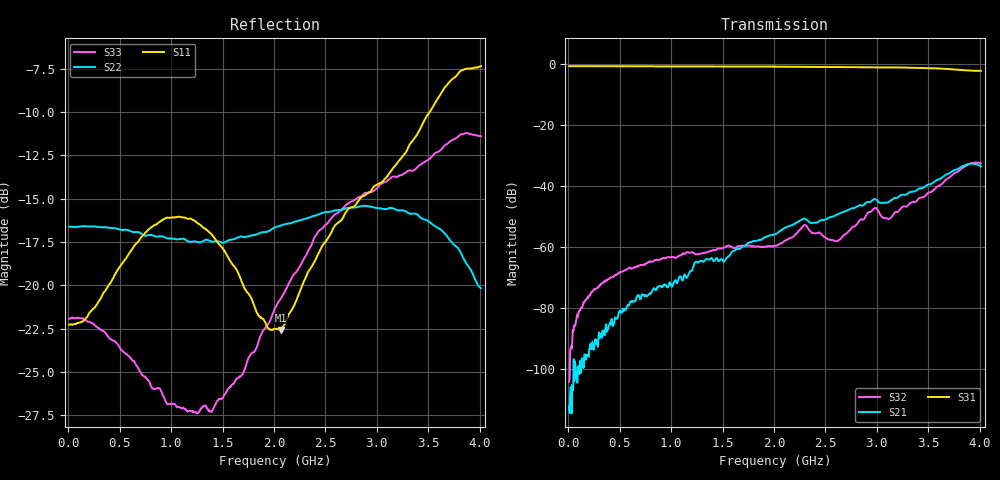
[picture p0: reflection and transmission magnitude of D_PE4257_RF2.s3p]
! Created Tue Sep 16 19:43:14 2008
# hz S ma R 50
! 3 Port Network Data from SP1.SP block
! freq  magS11  angS11  magS12  angS12  magS13  angS13
!  magS21  angS21
!  magS22  angS22  magS23  angS23
!  magS31  angS31  magS32  angS32
!  magS33  angS33
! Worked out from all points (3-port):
!   801 points, 10 MHz to 4.01 GHz, reference 50 ohm
!   strongest paths, dB at 10 MHz, 1.01 GHz, 2.01 GHz, 3.01 GHz, 4.01 GHz:
!     S31: -0.7, -0.8, -0.9, -1.1, -2.2
!     S21: -112.3, -73.0, -55.8, -45.1, -33.6
!     S32: -104.3, -63.2, -59.6, -48.0, -32.6
!   lowest |S11| = -22.6 dB at 2.065 GHz (marker M1), VSWR 1.16, Z = 45.2 - j5.17 ohm
!   |S11| at or under -10 dB: start of sweep to 3.513 GHz
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1e7  0.07699 -0.7  1.014e-05 -143.9  0.9202 -0.2
     2.431e-06 -85.7  0.1476 -0.1  6.655e-06 72.8
     0.9202 -0.2  6.11e-06 45.2  0.08005 -0.7
7.85e8  0.1451 -32.8  0.0001696 -149.7  0.9144 -17.7
        0.0001679 -151.0  0.1396 -4.2  0.0005627 90.4
        0.9147 -17.7  0.0005635 90.1  0.05286 -50.0
1.395e9  0.1402 -48.4  0.0006751 -151.6  0.9094 -31.3
         0.0006583 -151.4  0.1337 -15.1  0.0008622 98.5
         0.9095 -31.3  0.0008587 98.8  0.0431 -81.2
2.01e9  0.07487 -118.9  0.001615 -138.0  0.9039 -45.3
        0.001618 -137.5  0.1468 -29.2  0.001038 117.2
        0.9041 -45.3  0.001044 117.1  0.08591 -83.5
2.065e9  0.07426 -130.0  0.001861 -135.3  0.9024 -46.6
         0.001859 -135.5  0.1487 -29.6  0.001136 124.2
         0.9026 -46.6  0.001139 124.4  0.09146 -86.1
2.3e9  0.1038 -164.2  0.002895 -151.6  0.8939 -52.0
       0.002904 -151.5  0.1555 -32.4  0.002281 117.5
       0.8942 -51.9  0.002282 117.4  0.1207 -91.4
2.62e9  0.1512 -178.4  0.003413 -142.5  0.8889 -59.3
        0.003416 -142.4  0.1649 -33.8  0.00126 136.9
        0.8897 -59.3  0.001257 137.6  0.1619 -108.1
2.975e9  0.1932 -172.6  0.006088 -154.2  0.8797 -67.7
         0.00608 -154.5  0.1676 -33.5  0.004295 144.9
         0.8802 -67.6  0.004294 145.0  0.1877 -128.8
3.125e9  0.2115 -164.2  0.005577 -149.6  0.8797 -71.6
         0.005585 -149.5  0.1672 -32.3  0.002925 150.0
         0.88 -71.5  0.00291 149.9  0.203 -139.5
4.01e9  0.4292 -135.5  0.02079 125.6  0.7731 -93.0
        0.02082 125.5  0.0981 -28.2  0.02353 81.5
        0.7734 -93.0  0.02343 81.9  0.2695 140.5
